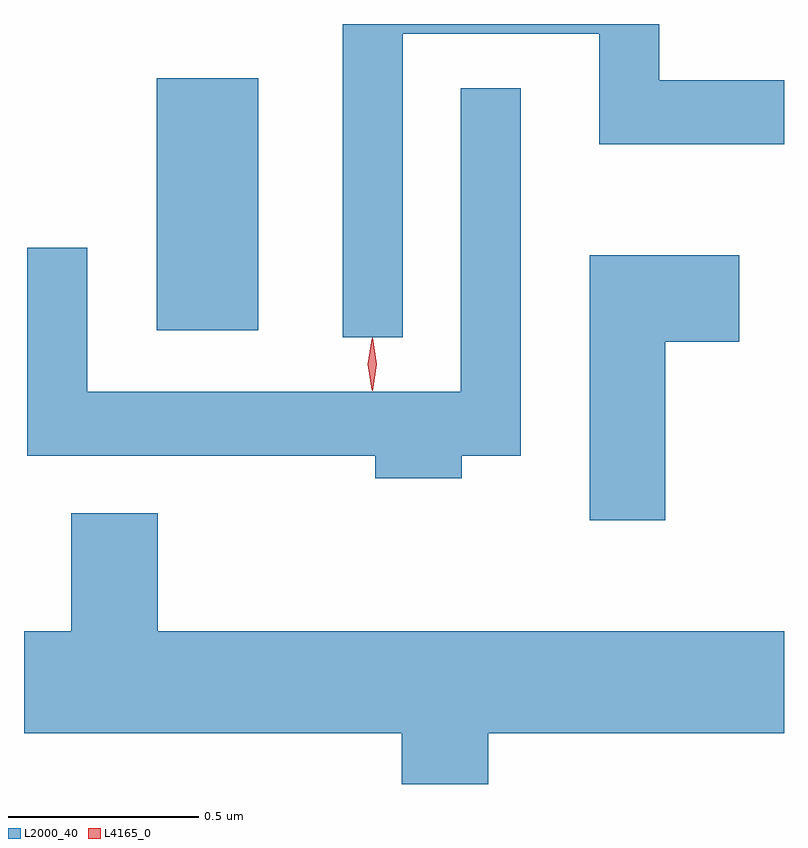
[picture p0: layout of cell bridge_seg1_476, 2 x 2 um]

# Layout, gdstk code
import gdstk
lib = gdstk.Library(unit=1e-6, precision=1e-09)
def R(c, l, rs):  # rectangles x0, y0, x1, y1
    for r in rs: c.add(gdstk.rectangle(r[:2], r[2:], *l))
def P(c, l, *ps):  # polygons
    for p in ps: c.add(gdstk.Polygon(p, *l))
L2000_40 = (2000, 40)
L4165_0 = (4165, 0)

bridge_seg1_476 = lib.new_cell('bridge_seg1_476')
R(bridge_seg1_476, L2000_40, [(359.566,887.316,359.834,887.979)])
P(bridge_seg1_476, L2000_40, [(360.214,888.096),(360.731,888.096),(360.731,887.806),(361.217,887.806),(361.217,887.974),(360.889,887.974),(360.889,888.122),(360.056,888.122),(360.056,887.298),(360.214,887.298)],
  [(360.369,886.986),(360.524,886.986),(360.524,887.953),(360.366,887.953),(360.366,887.154),(359.384,887.154),(359.384,887.533),(359.226,887.533),(359.226,886.986),(360.141,886.986),(360.141,886.926),(360.369,886.926)],
  [(360.904,887.286),(361.099,887.286),(361.099,887.514),(360.706,887.514),(360.706,886.816),(360.904,886.816)],
  [(360.439,886.256),(361.217,886.256),(361.217,886.524),(359.569,886.524),(359.569,886.834),(359.341,886.834),(359.341,886.524),(359.217,886.524),(359.217,886.256),(360.211,886.256),(360.211,886.122),(360.439,886.122)])
P(bridge_seg1_476, L4165_0, [(360.132,887.159),(360.132,887.16),(360.122,887.226),(360.132,887.292),(360.132,887.293),(360.132,887.292),(360.142,887.226),(360.132,887.16)],
  [(360.134,887.157),(360.125,887.226),(360.134,887.296),(360.135,887.296),(360.135,887.296),(360.145,887.226),(360.135,887.157),(360.135,887.157)])

lib.write_gds('bridge_seg1_476.gds')
